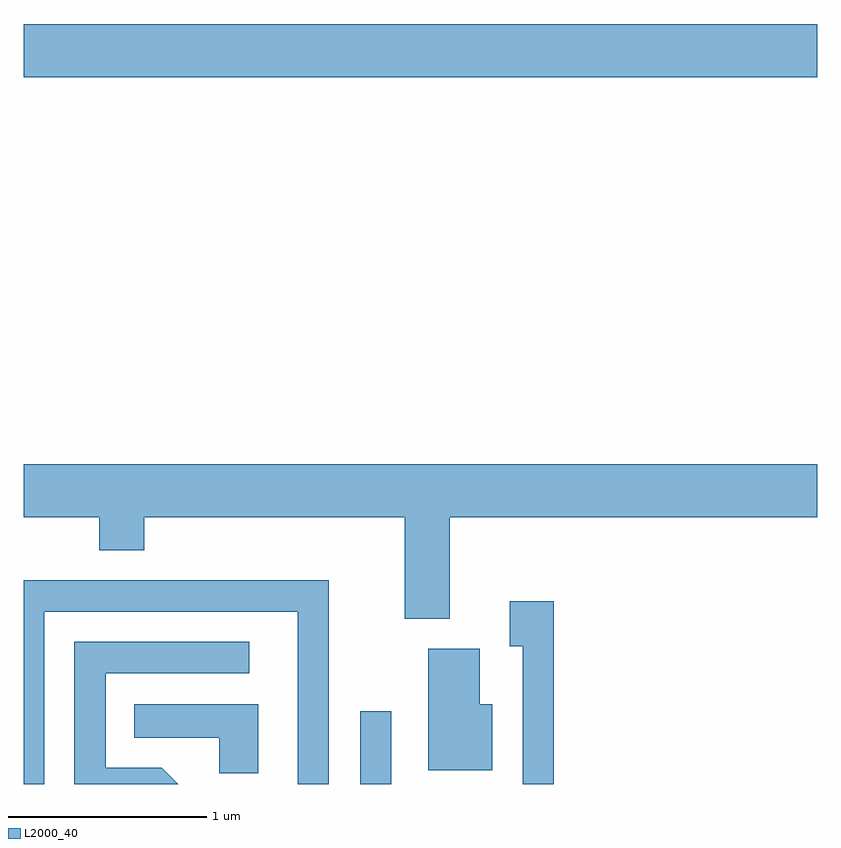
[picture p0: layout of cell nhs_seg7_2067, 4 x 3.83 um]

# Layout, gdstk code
import gdstk
lib = gdstk.Library(unit=1e-6, precision=1e-09)
def R(c, l, rs):  # rectangles x0, y0, x1, y1
    for r in rs: c.add(gdstk.rectangle(r[:2], r[2:], *l))
def P(c, l, *ps):  # polygons
    for p in ps: c.add(gdstk.Polygon(p, *l))
L2000_40 = (2000, 40)

nhs_seg7_2067 = lib.new_cell('nhs_seg7_2067')
R(nhs_seg7_2067, L2000_40, [(249.306,1766.252,249.464,1766.618), (247.611,1769.816,251.611,1770.084)])
P(nhs_seg7_2067, L2000_40, [(249.759,1767.596),(251.611,1767.596),(251.611,1767.864),(247.611,1767.864),(247.611,1767.596),(247.991,1767.596),(247.991,1767.431),(248.219,1767.431),(248.219,1767.596),(249.531,1767.596),(249.531,1767.086),(249.759,1767.086)],
  [(247.714,1767.121),(248.991,1767.121),(248.991,1766.252),(249.149,1766.252),(249.149,1767.279),(247.611,1767.279),(247.611,1766.252),(247.714,1766.252)],
  [(250.284,1767.174),(250.061,1767.174),(250.061,1766.946),(250.126,1766.946),(250.126,1766.252),(250.284,1766.252)],
  [(248.307,1766.334),(248.024,1766.334),(248.024,1766.811),(248.748,1766.811),(248.748,1766.969),(247.866,1766.969),(247.866,1766.252),(248.389,1766.252)],
  [(249.974,1766.654),(249.909,1766.654),(249.909,1766.934),(249.651,1766.934),(249.651,1766.321),(249.974,1766.321)],
  [(248.794,1766.654),(248.168,1766.654),(248.168,1766.486),(248.596,1766.486),(248.596,1766.306),(248.794,1766.306)])

lib.write_gds('nhs_seg7_2067.gds')
